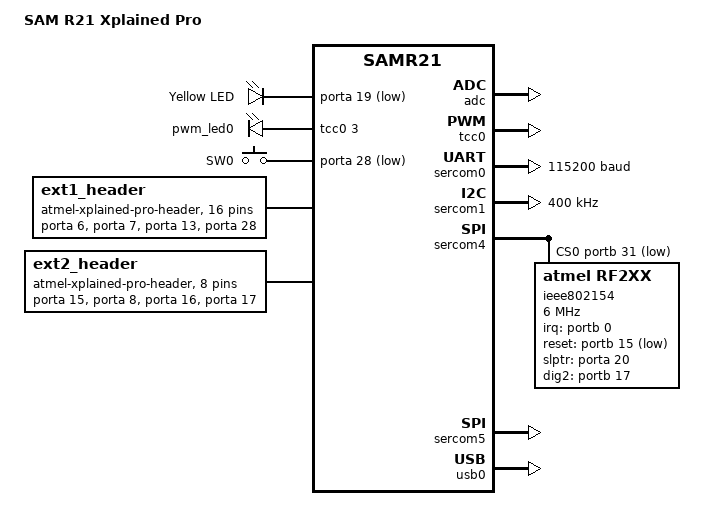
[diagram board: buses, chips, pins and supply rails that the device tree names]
/*
 * Copyright (c) 2019 Benjamin Valentin
 * Copyright (c) 2019-2024 Gerson Fernando Budke <nandojve@gmail.com>
 *
 * SPDX-License-Identifier: Apache-2.0
 */

/dts-v1/;
#include <atmel/samr21.dtsi>
#include <atmel/samx2xx18.dtsi>
#include "samr21_xpro-pinctrl.dtsi"
#include <zephyr/dt-bindings/input/input-event-codes.h>

/ {
	model = "SAM R21 Xplained Pro";
	compatible = "samr21,xpro", "atmel,samr21g18a", "atmel,samr21";

	chosen {
		zephyr,console = &sercom0;
		zephyr,shell-uart = &sercom0;
		zephyr,sram = &sram0;
		zephyr,flash = &flash0;
		zephyr,ieee802154 = &ieee802154;
	};

	/* These aliases are provided for compatibility with samples */
	aliases {
		led0 = &led0;
		pwm-led0 = &pwm_led0;
		sw0 = &user_button;
		i2c-0 = &sercom1;
	};

	leds {
		compatible = "gpio-leds";
		led0: led_0 {
			gpios = <&porta 19 GPIO_ACTIVE_LOW>;
			label = "Yellow LED";
		};
	};

	pwmleds {
		compatible = "pwm-leds";
		pwm_led0: pwm_led_0 {
			pwms = <&tcc0 3 PWM_MSEC(20)>;
		};
	};

	buttons {
		compatible = "gpio-keys";
		user_button: button_0 {
			gpios = <&porta 28 (GPIO_PULL_UP | GPIO_ACTIVE_LOW)>;
			label = "SW0";
			zephyr,code = <INPUT_KEY_0>;
		};
	};

	ext1_header: xplained-pro-connector1 {
		compatible = "atmel-xplained-pro-header";
		#gpio-cells = <2>;
		gpio-map-mask = <0xffffffff 0xffffffc0>;
		gpio-map-pass-thru = <0 0x3f>;		/*           Shared */
		gpio-map =	<0  0 &porta  6 0>,	/* ADC6             */
				<1  0 &porta  7 0>,	/* ADC7             */
				<2  0 &porta 13 0>,	/* GPIO             */
				<3  0 &porta 28 0>,	/* GPIO             */
				<4  0 &porta 18 0>,	/* PWM_T0_W2        */
				<5  0 &porta 19 0>,	/* PWM_T0_W3        */
				<6  0 &porta 22 0>,	/* GPIO             */
				<7  0 &porta 23 0>,	/* GPIO             */
				<8  0 &porta 16 0>,	/* TWD1        EXT2 */
				<9  0 &porta 17 0>,	/* TWCK1       EXT2 */
				<10 0 &porta  5 0>,	/* RXD0             */
				<11 0 &porta  4 0>,	/* TXD0             */
				<12 0 &portb  3 0>,	/* SPI5(SS)         */
				<13 0 &portb 22 0>,	/* SPI5(MOSI)  EXTx */
				<14 0 &portb  2 0>,	/* SPI5(MISO)  EXTx */
				<15 0 &portb 23 0>;	/* SPI5(SCK)   EXTx */
	};

	ext2_header: xplained-pro-connector2 {
		compatible = "atmel-xplained-pro-header";
		#gpio-cells = <2>;
		gpio-map-mask = <0xffffffff 0xffffffc0>;
		gpio-map-pass-thru = <0 0x3f>;		/*           Shared */
		gpio-map =    /*<0  0 -      - 0>,	   -                */
			      /*<1  0 -      - 0>,	   -                */
				<2  0 &porta 15 0>,	/* GPIO             */
			      /*<3  0 -      - 0>,	   -                */
			      /*<4  0 -      - 0>,	   -                */
			      /*<5  0 -      - 0>,	   -                */
			      /*<6  0 -      - 0>,	   -                */
				<7  0 &porta  8 0>,	/* GPIO             */
				<8  0 &porta 16 0>,	/* TWD1        EXT1 */
				<9  0 &porta 17 0>,	/* TWCK1       EXT1 */
			      /*<11 0 -      - 0>,	   -                */
			      /*<12 0 -      - 0>,	   -                */
				<12 0 &porta 14 0>,	/* GPIO             */
				<13 0 &portb 22 0>,	/* SPI5(MOSI)  EXTx */
				<14 0 &portb  2 0>,	/* SPI5(MISO)  EXTx */
				<15 0 &portb 23 0>;	/* SPI5(SCK)   EXTx */
	};
};

&cpu0 {
	clock-frequency = <48000000>;
};

&adc {
	status = "okay";
	pinctrl-0 = <&adc_default>;
	pinctrl-names = "default";
};

&tcc0 {
	status = "okay";
	compatible = "atmel,sam0-tcc-pwm";
	prescaler = <4>;
	#pwm-cells = <2>;

	pinctrl-0 = <&pwm_default>;
	pinctrl-names = "default";
};

&sercom0 {
	status = "okay";
	compatible = "atmel,sam0-uart";
	current-speed = <115200>;
	rxpo = <1>;
	txpo = <0>;

	pinctrl-0 = <&sercom0_uart_default>;
	pinctrl-names = "default";
};

&sercom1 {
	status = "okay";
	compatible = "atmel,sam0-i2c";
	clock-frequency = <I2C_BITRATE_FAST>;
	#address-cells = <1>;
	#size-cells = <0>;

	pinctrl-0 = <&sercom1_i2c_default>;
	pinctrl-names = "default";
};

&sercom4 {
	status = "okay";
	compatible = "atmel,sam0-spi";
	/*
	 *	CS-PB31; MOSI-PB30; MISO-PC19; SCLK-PC18
	 *	PAD[1]; PAD[2]; PAD[0]; PAD[3]
	 */
	dipo = <0>;
	dopo = <1>;
	#address-cells = <1>;
	#size-cells = <0>;

	pinctrl-0 = <&sercom4_spi_default>;
	pinctrl-names = "default";

	cs-gpios = <&portb 31 GPIO_ACTIVE_LOW>;

	ieee802154: rf2xx@0 {
		compatible = "atmel,rf2xx";
		reg = <0x0>;
		spi-max-frequency = <6000000>;
		irq-gpios = <&portb 0 (GPIO_ACTIVE_HIGH | GPIO_PULL_DOWN)>;
		reset-gpios = <&portb 15 GPIO_ACTIVE_LOW>;
		slptr-gpios = <&porta 20 GPIO_ACTIVE_HIGH>;
		dig2-gpios = <&portb 17 (GPIO_ACTIVE_HIGH | GPIO_PULL_DOWN)>;
		status = "okay";
		tx-pwr-min = [01 11];	/* -17.0 dBm */
		tx-pwr-max = [00 04];	/*   4.0 dBm */
		tx-pwr-table = [00 01 03 04 05 05 06 06
				07 07 07 08 08 09 09 0a
				0a 0a 0b 0b 0b 0b 0c 0c
				0c 0c 0d 0d 0d 0d 0d 0d
				0d 0d 0e 0e 0e 0e 0e 0e
				0e 0e 0e 0e 0e 0e 0f 0f];
	};
};

&sercom5 {
	status = "okay";
	compatible = "atmel,sam0-spi";
	dipo = <0>;
	dopo = <2>;
	#address-cells = <1>;
	#size-cells = <0>;

	pinctrl-0 = <&sercom5_spi_default>;
	pinctrl-names = "default";
};

zephyr_udc0: &usb0 {
	status = "okay";

	pinctrl-0 = <&usb_dc_default>;
	pinctrl-names = "default";
};

ext1_spi: &sercom5 {
};

ext1_i2c: &sercom1 {
};

ext1_serial: &sercom0 {
};

ext2_spi: &sercom5 {
};

ext2_i2c: &sercom1 {
};

&flash0 {
	partitions {
		compatible = "fixed-partitions";
		#address-cells = <1>;
		#size-cells = <1>;

		/*
		 * The final 16 KiB is reserved for the application.
		 * Storage partition will be used by FCB/LittleFS/NVS
		 * if enabled.
		 */
		storage_partition: partition@3c000 {
			label = "storage";
			reg = <0x0003c000 0x00004000>;
		};
	};
};
